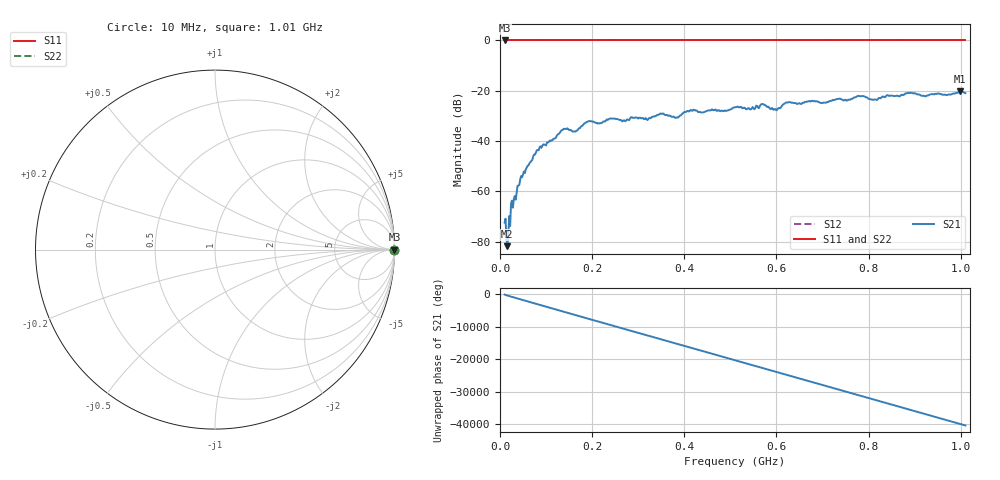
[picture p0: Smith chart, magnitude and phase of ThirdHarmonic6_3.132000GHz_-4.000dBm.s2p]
! 8/17/2025 9:19:28 AM
! C:\ANRITSUVNA\TEMP\TEMP.S2P
! CHANNEL.1
! TR.MEASUREMENT
! RAW.DATA
! RF.CORRECTION.OFF
! AVERAGING.OFF
! IF.BANDWIDTH: 5KHZ
! SWEEPTYPE:  FREQ.SWEEP(Linear)
! Reference Plane Port Info
! PORT:  PORT1  PORT2
! DISTANCE:  0  m  0  m
! TIME:  0  s  0  s
! PHASE.OFFSET:  0  deg.  0  deg.
! LOSS:  0  dB  0  dB
! REF.LOSS:  0  dB  0  dB
! REF.FREQ:  0  Hz  0  Hz
! Power Info
! POWER:  -20  dBm  -20  dBm
! EFF.POWER:  -20  dBm  -20  dBm
! SOURCE.ATTEN:  0  dB  0  dB
! TEST.ATTEN:  0  dB  0  dB
# GHZ S RI R 50.0
! FREQ.GHZ  S11RE  S11IM  S21RE  S21IM  S12RE  S12IM  S22RE  S22IM
!; PortSelection: Port_12
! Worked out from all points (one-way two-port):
!   501 points, 10 MHz to 1.01 GHz, reference 50 ohm
!   highest |S21| = -20.20 dB at 998 MHz (marker M1); lowest = -81.8 dB at 16 MHz (marker M2)
!   lowest |S11| = 0.0 dB at 10 MHz (marker M3)
!   |S11| at or under -10 dB: nowhere
!   |S22| runs from 0.0 to 0.0 dB; largest |S21 - S12| = 1.1
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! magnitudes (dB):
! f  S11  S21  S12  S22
! 10 MHz  0.0  -72.4  0.0  0.0
! 16 MHz  0.0  -81.8  0.0  0.0
! 18 MHz  0.0  -77.6  0.0  0.0
! 28 MHz  0.0  -66.5  0.0  0.0
! 42 MHz  0.0  -57.4  0.0  0.0
! 78 MHz  0.0  -44.6  0.0  0.0
! 136 MHz  0.0  -35.6  0.0  0.0
! 162 MHz  0.0  -36.2  0.0  0.0
! 178 MHz  0.0  -34.0  0.0  0.0
! 194 MHz  0.0  -32.0  0.0  0.0
! 318 MHz  0.0  -31.3  0.0  0.0
! 344 MHz  0.0  -29.6  0.0  0.0
! 384 MHz  0.0  -30.6  0.0  0.0
! 418 MHz  0.0  -28.0  0.0  0.0
! 510 MHz  0.0  -26.5  0.0  0.0
! 570 MHz  0.0  -25.3  0.0  0.0
! 598 MHz  0.0  -27.3  0.0  0.0
! 624 MHz  0.0  -24.7  0.0  0.0
! 678 MHz  0.0  -24.0  0.0  0.0
! 844 MHz  0.0  -22.0  0.0  0.0
! 998 MHz  0.0  -20.2  0.0  0.0
! 1.01 GHz  0.0  -20.9  0.0  0.0
